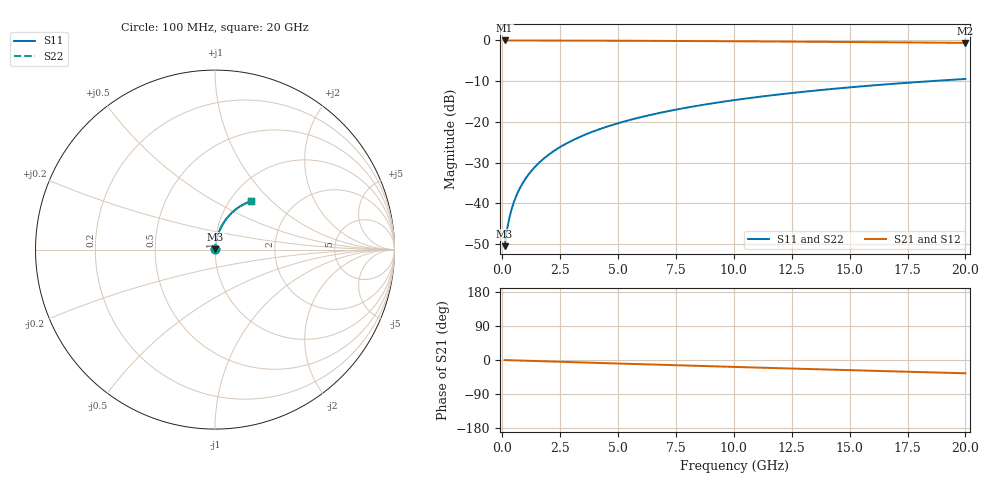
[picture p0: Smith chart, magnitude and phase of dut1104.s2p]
! Touchstone file exported from HFSS 2026.1.0
!  File:  C:/ffzhzh/LocalFiles/Ansys_Project_Files/temp_train_BSMRDL_1104_1783174836_18472.aedt
!  Generated:  10:21:54 PM Jul  4, 2026
!  Design:  BSMRDL
!  Project:  temp_train_BSMRDL_1104_1783174836_18472
! Variables:
!  h_bsmrdl = 4.93um
!  h_ox = 20um
!  h_rdl = 5um
!  h_sub = 80um
!  h_tmrdl = 5um
!  h_tsv = 80um
!  h_via = 3um
!  l_bsmrdl = 499.72um
!  l_sub = 899.72um
!  l_tmrdl = 200um
!  m_sub = 200um
!  pitch = 44.89um
!  r_tsv = 6um
!  s_tmrdl = 10um
!  w_bsmrdl = 18.11um
!  w_sub = 500um
!  w_tmrdl = 12um
!  x_tsv_center1 = 206um
!  x_tsv_center2 = 723.83um
!  x_tsv_center3 = 935.83um
!  x_tsv_center4 = 1453.66um
!  x_tsv_center5 = 1665.66um
!  x_tsv_center6 = 2183.49um
# GHz S MA R 50.000000
! Terminal data exported
! Port[1] = BSM_RDL1_1_T1
! Port[2] = BSM_RDL1_1_T2
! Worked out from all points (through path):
!   200 points, 100 MHz to 20 GHz, reference 50 ohm
!   highest |S21| = -0.02 dB at 100 MHz (marker M1); lowest = -0.6 dB at 20 GHz (marker M2)
!   group delay of S21, straight-line fit = 4.87 ps
!   lowest |S11| = -50.5 dB at 100 MHz (marker M3), VSWR 1.01, Z = 50.2 + j0.212 ohm
!   |S11| at or under -10 dB: start of sweep to 18.5 GHz
!   |S22| runs from -50.5 to -9.5 dB; largest |S21 - S12| = 2e-15
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0.1  0.002994 44.9  0.9979 -0.2  0.9979 -0.2  0.002994 44.9
! Gamma 0 0 0 0
! Port Impedance 50 0 50 0
0.2  0.004721 61.6  0.9978 -0.4  0.9978 -0.4  0.004721 61.6
0.3  0.006578 68.9  0.9977 -0.6  0.9977 -0.6  0.006578 68.9
0.4  0.008469 72.9  0.9976 -0.8  0.9976 -0.8  0.008469 72.9
0.5  0.01038 75.5  0.9975 -1.0  0.9975 -1.0  0.01038 75.5
0.6  0.0123 77.3  0.9975 -1.1  0.9975 -1.1  0.0123 77.3
0.8  0.01618 79.4  0.9973 -1.5  0.9973 -1.5  0.01618 79.4
1.1  0.02203 81.0  0.9971 -2.1  0.9971 -2.1  0.02203 81.0
1.5  0.02984 81.7  0.9967 -2.8  0.9967 -2.8  0.02984 81.7
1.8  0.03569 81.8  0.9964 -3.4  0.9964 -3.4  0.03569 81.8
2.1  0.04152 81.7  0.996 -4.0  0.996 -4.0  0.04152 81.7
2.7  0.05309 81.1  0.9951 -5.1  0.9951 -5.1  0.05309 81.1
3.5  0.06834 80.1  0.9937 -6.6  0.9937 -6.6  0.06834 80.1
4.2  0.08151 79.0  0.9922 -7.8  0.9922 -7.8  0.08151 79.0
5  0.09636 77.7  0.9904 -9.3  0.9904 -9.3  0.09636 77.7
5.9  0.1128 76.3  0.9881 -10.9  0.9881 -10.9  0.1128 76.3
6.8  0.1291 74.8  0.9856 -12.6  0.9856 -12.6  0.1291 74.8
8.3  0.1556 72.3  0.9811 -15.2  0.9811 -15.2  0.1556 72.3
10.1  0.1866 69.3  0.9751 -18.4  0.9751 -18.4  0.1866 69.3
13.4  0.2406 63.9  0.9623 -24.1  0.9623 -24.1  0.2406 63.9
16.7  0.2907 58.5  0.9477 -29.7  0.9477 -29.7  0.2907 58.5
20  0.3365 53.3  0.932 -35.1  0.932 -35.1  0.3365 53.3
